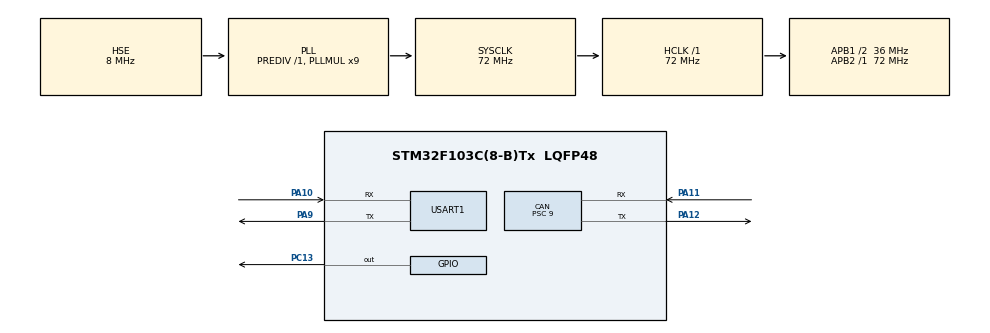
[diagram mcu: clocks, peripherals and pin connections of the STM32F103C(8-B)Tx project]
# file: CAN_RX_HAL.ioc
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CAN.BS1=CAN_BS1_3TQ
CAN.BS2=CAN_BS2_4TQ
CAN.CalculateBaudRate=500000
CAN.CalculateTimeBit=2000
CAN.CalculateTimeQuantum=250.0
CAN.Prescaler=9
Mcu.Family=STM32F1
Mcu.Name=STM32F103C(8-B)Tx
Mcu.Package=LQFP48
NVIC.PriorityGroup=NVIC_PRIORITYGROUP_4
NVIC.USB_LP_CAN1_RX0_IRQn=true\:0\:0\:false\:false\:true\:true\:true\:true
PA10.Mode=Asynchronous
PA10.Signal=USART1_RX
PA11.Mode=CAN_Activate
PA11.Signal=CAN_RX
PA12.Mode=CAN_Activate
PA12.Signal=CAN_TX
PA9.Mode=Asynchronous
PA9.Signal=USART1_TX
PC13-TAMPER-RTC.Signal=GPIO_Output
PD0-OSC_IN.Mode=HSE-External-Oscillator
PD0-OSC_IN.Signal=RCC_OSC_IN
PD1-OSC_OUT.Mode=HSE-External-Oscillator
PD1-OSC_OUT.Signal=RCC_OSC_OUT
ProjectManager.HeapSize=0x200
ProjectManager.StackSize=0x400
ProjectManager.TargetToolchain=STM32CubeIDE
RCC.AHBFreq_Value=72000000
RCC.APB1CLKDivider=RCC_HCLK_DIV2
RCC.APB1Freq_Value=36000000
RCC.APB1TimFreq_Value=72000000
RCC.APB2Freq_Value=72000000
RCC.APB2TimFreq_Value=72000000
RCC.HCLKFreq_Value=72000000
RCC.PLLMUL=RCC_PLL_MUL9
RCC.PLLSourceVirtual=RCC_PLLSOURCE_HSE
RCC.SYSCLKFreq_VALUE=72000000
RCC.SYSCLKSource=RCC_SYSCLKSOURCE_PLLCLK
RCC.USBFreq_Value=72000000
USART1.VirtualMode=VM_ASYNC
VP_SYS_VS_ND.Mode=No_Debug
board=custom

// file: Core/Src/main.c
/* USER CODE BEGIN Header */
/**
  ******************************************************************************
  * @file           : main.c
  * @brief          : Main program body
  ******************************************************************************
  * @attention
  *
  * Copyright (c) 2025 STMicroelectronics.
  * All rights reserved.
  *
  * This software is licensed under terms that can be found in the LICENSE file
  * in the root directory of this software component.
  * If no LICENSE file comes with this software, it is provided AS-IS.
  *
  ******************************************************************************
  */
/* USER CODE END Header */
#include "main.h"

CAN_HandleTypeDef hcan;

UART_HandleTypeDef huart1;

/* USER CODE BEGIN PV */
CAN_RxHeaderTypeDef RxMsg;
uint8_t canRx[10] = {0};
CAN_FilterTypeDef canfilterconfig;
/* USER CODE END PV */

void SystemClock_Config(void);
static void MX_GPIO_Init(void);
static void MX_CAN_Init(void);
static void MX_USART1_UART_Init(void);

int main(void)
{

  /* MCU Configuration--------------------------------------------------------*/

  /* Reset of all peripherals, Initializes the Flash interface and the Systick. */
  HAL_Init();

  /* Configure the system clock */
  SystemClock_Config();

  /* Initialize all configured peripherals */
  MX_GPIO_Init();
  MX_CAN_Init();
  MX_USART1_UART_Init();
  /* USER CODE BEGIN 2 */

	canfilterconfig.FilterActivation = CAN_FILTER_ENABLE;
	canfilterconfig.FilterBank = 18;  // which filter bank to use from the assigned ones
	canfilterconfig.FilterFIFOAssignment = CAN_FILTER_FIFO0;
	canfilterconfig.FilterIdHigh = 0x23<<5;
	canfilterconfig.FilterIdLow = 0;
	canfilterconfig.FilterMaskIdHigh = 0x23<<5;
	canfilterconfig.FilterMaskIdLow = 0x0000;
	canfilterconfig.FilterMode = CAN_FILTERMODE_IDMASK;
	canfilterconfig.FilterScale = CAN_FILTERSCALE_32BIT;
	canfilterconfig.SlaveStartFilterBank = 20;  // how many filters to assign to the CAN1 (master can)
	HAL_CAN_ConfigFilter(&hcan, &canfilterconfig);
  /* USER CODE END 2 */

  /* Infinite loop */
  while (1)
  {

  }
}

void SystemClock_Config(void)
{
  RCC_OscInitTypeDef RCC_OscInitStruct = {0};
  RCC_ClkInitTypeDef RCC_ClkInitStruct = {0};

  /** Initializes the RCC Oscillators according to the specified parameters
  * in the RCC_OscInitTypeDef structure.
  */
  RCC_OscInitStruct.OscillatorType = RCC_OSCILLATORTYPE_HSE;
  RCC_OscInitStruct.HSEState = RCC_HSE_ON;
  RCC_OscInitStruct.HSEPredivValue = RCC_HSE_PREDIV_DIV1;
  RCC_OscInitStruct.HSIState = RCC_HSI_ON;
  RCC_OscInitStruct.PLL.PLLState = RCC_PLL_ON;
  RCC_OscInitStruct.PLL.PLLSource = RCC_PLLSOURCE_HSE;
  RCC_OscInitStruct.PLL.PLLMUL = RCC_PLL_MUL9;
  if (HAL_RCC_OscConfig(&RCC_OscInitStruct) != HAL_OK)
  {
    Error_Handler();
  }

  /** Initializes the CPU, AHB and APB buses clocks
  */
  RCC_ClkInitStruct.ClockType = RCC_CLOCKTYPE_HCLK|RCC_CLOCKTYPE_SYSCLK
                              |RCC_CLOCKTYPE_PCLK1|RCC_CLOCKTYPE_PCLK2;
  RCC_ClkInitStruct.SYSCLKSource = RCC_SYSCLKSOURCE_PLLCLK;
  RCC_ClkInitStruct.AHBCLKDivider = RCC_SYSCLK_DIV1;
  RCC_ClkInitStruct.APB1CLKDivider = RCC_HCLK_DIV2;
  RCC_ClkInitStruct.APB2CLKDivider = RCC_HCLK_DIV1;

  if (HAL_RCC_ClockConfig(&RCC_ClkInitStruct, FLASH_LATENCY_2) != HAL_OK)
  {
    Error_Handler();
  }
}

static void MX_CAN_Init(void)
{

  hcan.Instance = CAN1;
  hcan.Init.Prescaler = 9;
  hcan.Init.Mode = CAN_MODE_NORMAL;
  hcan.Init.SyncJumpWidth = CAN_SJW_1TQ;
  hcan.Init.TimeSeg1 = CAN_BS1_3TQ;
  hcan.Init.TimeSeg2 = CAN_BS2_4TQ;
  hcan.Init.TimeTriggeredMode = DISABLE;
  hcan.Init.AutoBusOff = DISABLE;
  hcan.Init.AutoWakeUp = DISABLE;
  hcan.Init.AutoRetransmission = DISABLE;
  hcan.Init.ReceiveFifoLocked = DISABLE;
  hcan.Init.TransmitFifoPriority = DISABLE;
  if (HAL_CAN_Init(&hcan) != HAL_OK)
  {
    Error_Handler();
  }

}

static void MX_USART1_UART_Init(void)
{

  huart1.Instance = USART1;
  huart1.Init.BaudRate = 115200;
  huart1.Init.WordLength = UART_WORDLENGTH_8B;
  huart1.Init.StopBits = UART_STOPBITS_1;
  huart1.Init.Parity = UART_PARITY_NONE;
  huart1.Init.Mode = UART_MODE_TX_RX;
  huart1.Init.HwFlowCtl = UART_HWCONTROL_NONE;
  huart1.Init.OverSampling = UART_OVERSAMPLING_16;
  if (HAL_UART_Init(&huart1) != HAL_OK)
  {
    Error_Handler();
  }

}

static void MX_GPIO_Init(void)
{
  GPIO_InitTypeDef GPIO_InitStruct = {0};

  /* GPIO Ports Clock Enable */
  __HAL_RCC_GPIOC_CLK_ENABLE();
  __HAL_RCC_GPIOD_CLK_ENABLE();
  __HAL_RCC_GPIOA_CLK_ENABLE();

  /*Configure GPIO pin Output Level */
  HAL_GPIO_WritePin(GPIOC, GPIO_PIN_13, GPIO_PIN_RESET);

  /*Configure GPIO pin : PC13 */
  GPIO_InitStruct.Pin = GPIO_PIN_13;
  GPIO_InitStruct.Mode = GPIO_MODE_OUTPUT_PP;
  GPIO_InitStruct.Pull = GPIO_NOPULL;
  GPIO_InitStruct.Speed = GPIO_SPEED_FREQ_LOW;
  HAL_GPIO_Init(GPIOC, &GPIO_InitStruct);

}

/* USER CODE BEGIN 4 */
void HAL_CAN_RxFifo1MsgPendingCallback(CAN_HandleTypeDef *hcan)
{
	HAL_CAN_GetRxMessage(&hcan, CAN_RX_FIFO1, &RxMsg, canRx);
	if(RxMsg.StdId == 0x23)
	{
		HAL_UART_Transmit(&huart1, canRx, strlen(canRx), HAL_MAX_DELAY);
	}
}
/* USER CODE END 4 */

void Error_Handler(void)
{
  __disable_irq();
  while (1)
  {
  }
}
